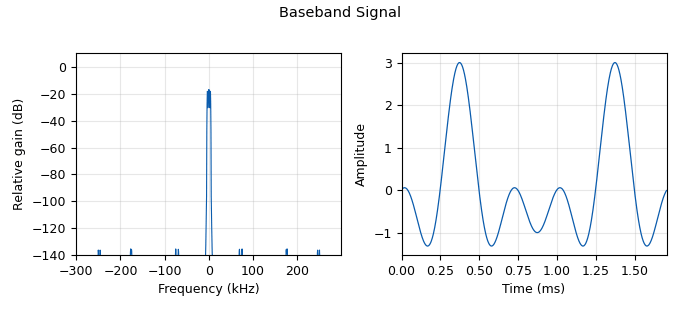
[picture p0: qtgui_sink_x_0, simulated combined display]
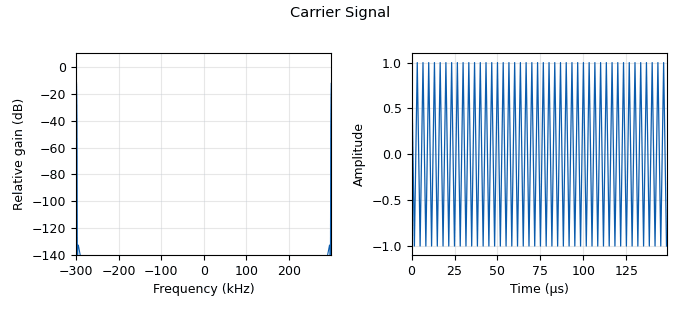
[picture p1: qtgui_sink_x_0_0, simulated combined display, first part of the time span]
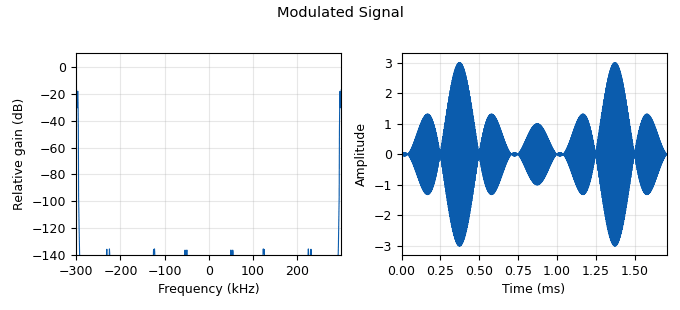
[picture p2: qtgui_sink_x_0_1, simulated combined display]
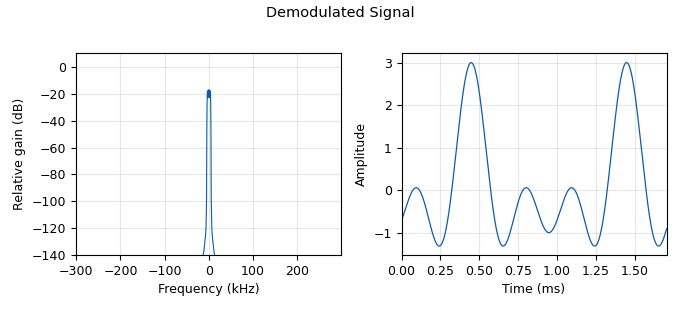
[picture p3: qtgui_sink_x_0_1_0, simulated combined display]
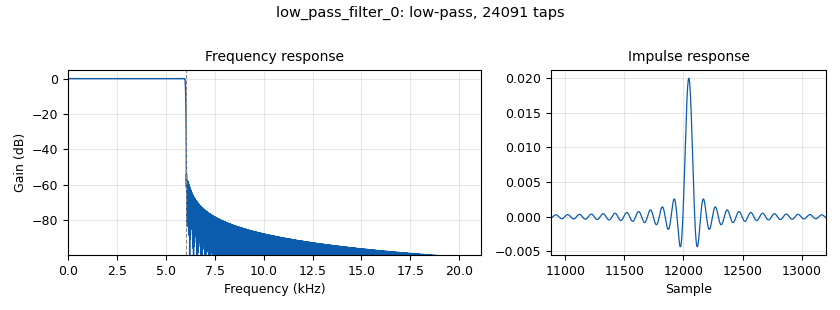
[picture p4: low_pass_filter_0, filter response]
options:
  parameters:
    author: Santosh
    copyright: '2022'
    generate_options: qt_gui
    id: Multitone_Amplitude_Modulation
    output_language: python
    title: Multitone_Amplitude_Modulation
  states: {}

blocks:
- name: samp_rate
  id: variable
  parameters:
    value: '600000'
  states: {}
- name: analog_sig_source_x_0
  id: analog_sig_source_x
  parameters:
    amp: '1'
    freq: '1000'
    offset: '0'
    phase: '0'
    samp_rate: samp_rate
    type: float
    waveform: analog.GR_COS_WAVE
  states: {}
- name: analog_sig_source_x_0_0
  id: analog_sig_source_x
  parameters:
    amp: '1'
    freq: '2000'
    offset: '0'
    phase: '0'
    samp_rate: samp_rate
    type: float
    waveform: analog.GR_COS_WAVE
  states: {}
- name: analog_sig_source_x_0_0_0
  id: analog_sig_source_x
  parameters:
    amp: '1'
    freq: '300000'
    offset: '0'
    phase: '0'
    samp_rate: samp_rate
    type: float
    waveform: analog.GR_COS_WAVE
  states: {}
- name: analog_sig_source_x_0_1
  id: analog_sig_source_x
  parameters:
    amp: '1'
    freq: '3000'
    offset: '0'
    phase: '0'
    samp_rate: samp_rate
    type: float
    waveform: analog.GR_COS_WAVE
  states: {}
- name: blocks_add_xx_0
  id: blocks_add_xx
  parameters:
    num_inputs: '3'
    type: float
  states: {}
- name: blocks_multiply_xx_0
  id: blocks_multiply_xx
  parameters:
    type: float
  states: {}
- name: blocks_multiply_xx_0_0
  id: blocks_multiply_xx
  parameters:
    type: float
  states: {}
- name: low_pass_filter_0
  id: low_pass_filter
  parameters:
    cutoff_freq: '6000'
    gain: '1'
    interp: '1'
    samp_rate: samp_rate
    type: interp_fir_filter_fff
    width: '60'
    win: window.WIN_HAMMING
  states: {}
- name: qtgui_sink_x_0
  id: qtgui_sink_x
  parameters:
    bw: samp_rate
    fc: '0'
    fftsize: '1024'
    name: Baseband Signal
    type: float
  states: {}
- name: qtgui_sink_x_0_0
  id: qtgui_sink_x
  parameters:
    bw: samp_rate
    fc: '0'
    fftsize: '1024'
    name: Carrier Signal
    type: float
  states: {}
- name: qtgui_sink_x_0_1
  id: qtgui_sink_x
  parameters:
    bw: samp_rate
    fc: '0'
    fftsize: '1024'
    name: Modulated Signal
    type: float
  states: {}
- name: qtgui_sink_x_0_1_0
  id: qtgui_sink_x
  parameters:
    bw: samp_rate
    fc: '0'
    fftsize: '1024'
    name: Demodulated Signal
    type: float
  states: {}

connections:
- [analog_sig_source_x_0, '0', blocks_add_xx_0, '0']
- [analog_sig_source_x_0_0, '0', blocks_add_xx_0, '1']
- [analog_sig_source_x_0_0_0, '0', blocks_multiply_xx_0, '1']
- [analog_sig_source_x_0_0_0, '0', blocks_multiply_xx_0_0, '1']
- [analog_sig_source_x_0_0_0, '0', qtgui_sink_x_0_0, '0']
- [analog_sig_source_x_0_1, '0', blocks_add_xx_0, '2']
- [blocks_add_xx_0, '0', blocks_multiply_xx_0, '0']
- [blocks_add_xx_0, '0', qtgui_sink_x_0, '0']
- [blocks_multiply_xx_0, '0', blocks_multiply_xx_0_0, '0']
- [blocks_multiply_xx_0, '0', qtgui_sink_x_0_1, '0']
- [blocks_multiply_xx_0_0, '0', low_pass_filter_0, '0']
- [low_pass_filter_0, '0', qtgui_sink_x_0_1_0, '0']

metadata:
  file_format: 1
  grc_version: 3.10.4.0
